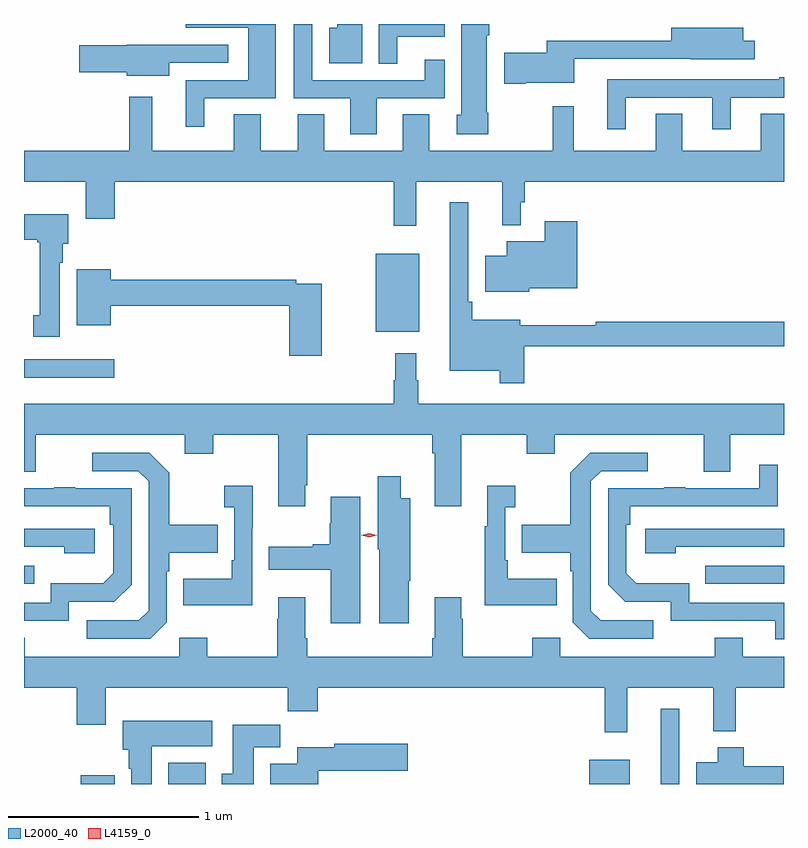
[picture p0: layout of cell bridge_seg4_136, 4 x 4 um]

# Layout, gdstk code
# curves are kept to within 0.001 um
import gdstk
lib = gdstk.Library(unit=1e-6, precision=1e-09)
def R(c, l, rs):  # rectangles x0, y0, x1, y1
    for r in rs: c.add(gdstk.rectangle(r[:2], r[2:], *l))
def P(c, l, *ps):  # polygons
    for p in ps: c.add(gdstk.Polygon(p, *l))
L2000_40 = (2000, 40)
L4159_0 = (4159, 0)

bridge_seg4_136 = lib.new_cell('bridge_seg4_136')
R(bridge_seg4_136, L2000_40, [(238.826,776.334,239.005,776.38), (239.288,776.334,239.485,776.446), (241.502,776.334,241.717,776.461), (241.88,776.334,241.977,776.731), (238.528,777.387,238.583,777.483), (242.113,777.387,242.528,777.483), (238.528,778.472,239.002,778.569), (240.38,778.715,240.607,779.125)])
P(bridge_seg4_136, L2000_40, [(240.307,780.334),(240.176,780.334),(240.176,780.313),(240.134,780.313),(240.134,780.128),(240.307,780.128)],
  [(239.476,779.943),(239.854,779.943),(239.854,780.334),(239.378,780.334),(239.378,780.314),(239.708,780.314),(239.708,780.039),(239.378,780.039),(239.378,779.793),(239.476,779.793)],
  [(240.385,779.943),(240.742,779.943),(240.742,780.145),(240.638,780.145),(240.638,780.039),(240.045,780.039),(240.045,780.334),(239.949,780.334),(239.949,779.943),(240.245,779.943),(240.245,779.754),(240.385,779.754)],
  [(240.493,780.266),(240.742,780.266),(240.742,780.334),(240.396,780.334),(240.396,780.124),(240.493,780.124)],
  [(240.972,779.866),(240.964,779.866),(240.964,780.275),(240.977,780.275),(240.977,780.334),(240.83,780.334),(240.83,779.856),(240.806,779.856),(240.806,779.754),(240.972,779.754)],
  [(241.168,780.026),(241.423,780.026),(241.423,780.15),(242.038,780.15),(242.038,780.149),(242.374,780.149),(242.374,780.247),(242.314,780.247),(242.314,780.313),(241.934,780.313),(241.934,780.247),(241.28,780.247),(241.28,780.184),(241.056,780.184),(241.056,780.019),(241.168,780.019)],
  [(239.293,780.129),(239.602,780.129),(239.602,780.225),(239.289,780.225),(239.289,780.226),(239.07,780.226),(239.07,780.221),(238.818,780.221),(238.818,780.079),(239.07,780.079),(239.07,780.062),(239.293,780.062)],
  [(241.696,779.946),(242.15,779.946),(242.15,779.781),(242.248,779.781),(242.248,779.946),(242.528,779.946),(242.528,780.055),(242.504,780.055),(242.504,780.042),(241.598,780.042),(241.598,779.781),(241.696,779.781)],
  [(240.593,779.504),(241.046,779.504),(241.046,779.276),(241.143,779.276),(241.143,779.397),(241.163,779.397),(241.163,779.504),(242.528,779.504),(242.528,779.861),(242.405,779.861),(242.405,779.668),(241.993,779.668),(241.993,779.861),(241.853,779.861),(241.853,779.668),(241.421,779.668),(241.421,779.902),(241.311,779.902),(241.311,779.668),(240.661,779.668),(240.661,779.858),(240.521,779.858),(240.521,779.668),(240.109,779.668),(240.109,779.858),(239.969,779.858),(239.969,779.668),(239.773,779.668),(239.773,779.858),(239.633,779.858),(239.633,779.668),(239.203,779.668),(239.203,779.95),(239.082,779.95),(239.082,779.668),(238.528,779.668),(238.528,779.504),(238.853,779.504),(238.853,779.31),(239.006,779.31),(239.006,779.504),(240.475,779.504),(240.475,779.271),(240.593,779.271)],
  [(241.16,778.638),(242.528,778.638),(242.528,778.766),(241.537,778.766),(241.537,778.748),(241.141,778.748),(241.141,778.777),(240.887,778.777),(240.887,778.873),(240.867,778.873),(240.867,779.395),(240.77,779.395),(240.77,778.508),(241.032,778.508),(241.032,778.443),(241.16,778.443)],
  [(238.717,779.078),(238.732,779.078),(238.732,779.178),(238.762,779.178),(238.762,779.332),(238.528,779.332),(238.528,779.198),(238.597,779.198),(238.597,779.185),(238.61,779.185),(238.61,778.802),(238.577,778.802),(238.577,778.689),(238.717,778.689)],
  [(241.188,778.943),(241.439,778.943),(241.439,779.296),(241.268,779.296),(241.268,779.191),(241.07,779.191),(241.07,779.113),(240.956,779.113),(240.956,778.925),(241.188,778.925)],
  [(240.094,778.968),(239.96,778.968),(239.96,778.988),(238.984,778.988),(238.984,779.044),(238.805,779.044),(238.805,778.748),(238.984,778.748),(238.984,778.852),(239.924,778.852),(239.924,778.587),(240.094,778.587)],
  [(240.007,777.907),(240.02,777.907),(240.02,778.172),(240.677,778.172),(240.677,778.076),(240.689,778.076),(240.689,777.795),(240.829,777.795),(240.829,778.172),(241.174,778.172),(241.174,778.073),(241.321,778.073),(241.321,778.172),(242.105,778.172),(242.105,777.978),(242.245,777.978),(242.245,778.172),(242.528,778.172),(242.528,778.336),(240.604,778.336),(240.604,778.46),(240.592,778.46),(240.592,778.6),(240.483,778.6),(240.483,778.46),(240.475,778.46),(240.475,778.336),(238.528,778.336),(238.528,777.978),(238.591,777.978),(238.591,778.172),(239.375,778.172),(239.375,778.073),(239.523,778.073),(239.523,778.172),(239.867,778.172),(239.867,777.795),(240.007,777.795)],
  [(239.28,777.186),(239.28,777.455),(239.293,777.455),(239.293,777.551),(239.549,777.551),(239.549,777.699),(239.293,777.699),(239.293,777.971),(239.187,778.077),(238.887,778.077),(238.887,777.981),(239.13,777.981),(239.184,777.927),(239.184,777.246),(239.133,777.195),(238.857,777.195),(238.857,777.099),(239.193,777.099)],
  [(241.84,777.195),(241.563,777.195),(241.512,777.246),(241.512,777.927),(241.566,777.981),(241.81,777.981),(241.81,778.077),(241.509,778.077),(241.404,777.971),(241.404,777.699),(241.147,777.699),(241.147,777.551),(241.404,777.551),(241.404,777.455),(241.416,777.455),(241.416,777.186),(241.503,777.099),(241.84,777.099)],
  [(242.528,777.288),(242.028,777.288),(242.028,777.391),(241.751,777.391),(241.698,777.444),(241.698,777.698),(241.718,777.698),(241.718,777.795),(242.495,777.796),(242.495,778.015),(242.399,778.015),(242.399,777.891),(242.009,777.891),(242.009,777.896),(241.897,777.896),(241.897,777.891),(241.602,777.891),(241.602,777.384),(241.692,777.294),(241.932,777.294),(241.932,777.192),(242.483,777.192),(242.483,777.096),(242.528,777.096)],
  [(240.553,777.403),(240.561,777.403),(240.561,777.838),(240.511,777.838),(240.511,777.955),(240.389,777.955),(240.389,777.57),(240.398,777.57),(240.398,777.18),(240.553,777.18)],
  [(239.73,777.679),(239.731,777.679),(239.731,777.904),(239.583,777.904),(239.583,777.791),(239.634,777.791),(239.634,777.511),(239.622,777.511),(239.622,777.415),(239.365,777.415),(239.365,777.275),(239.73,777.275)],
  [(241.331,777.415),(241.075,777.415),(241.075,777.511),(241.062,777.511),(241.062,777.791),(241.114,777.791),(241.114,777.904),(240.965,777.904),(240.965,777.691),(240.954,777.691),(240.954,777.275),(241.331,777.275)],
  [(238.764,777.294),(239.004,777.294),(239.094,777.384),(239.094,777.891),(238.799,777.891),(238.799,777.896),(238.687,777.896),(238.687,777.891),(238.528,777.891),(238.528,777.795),(238.978,777.795),(238.978,777.698),(238.998,777.698),(238.998,777.444),(238.945,777.391),(238.668,777.391),(238.668,777.288),(238.528,777.288),(238.528,777.192),(238.764,777.192)],
  [(240.298,777.847),(240.143,777.847),(240.143,777.707),(240.136,777.707),(240.136,777.596),(240.047,777.596),(240.047,777.583),(239.815,777.583),(239.815,777.461),(240.143,777.461),(240.143,777.18),(240.298,777.18)],
  [(238.9,777.678),(238.528,777.678),(238.528,777.582),(238.739,777.582),(238.739,777.548),(238.9,777.548)],
  [(241.958,777.582),(242.528,777.582),(242.528,777.678),(241.797,777.678),(241.797,777.548),(241.958,777.548)],
  [(241.703,776.84),(242.156,776.84),(242.156,776.612),(242.273,776.612),(242.273,776.84),(242.528,776.84),(242.528,777.004),(242.311,777.004),(242.311,777.103),(242.164,777.103),(242.164,777.004),(241.35,777.004),(241.35,777.103),(241.204,777.103),(241.204,777.004),(240.837,777.004),(240.837,777.203),(240.829,777.203),(240.829,777.316),(240.689,777.316),(240.689,777.1),(240.677,777.1),(240.677,777.004),(240.02,777.004),(240.02,777.1),(240.007,777.1),(240.007,777.316),(239.867,777.316),(239.867,777.203),(239.86,777.203),(239.86,777.004),(239.493,777.004),(239.493,777.103),(239.346,777.103),(239.346,777.004),(238.533,777.004),(238.533,777.103),(238.528,777.103),(238.528,776.84),(238.805,776.84),(238.805,776.646),(238.957,776.646),(238.957,776.84),(239.917,776.84),(239.917,776.716),(240.074,776.716),(240.074,776.84),(241.585,776.84),(241.585,776.607),(241.703,776.607)],
  [(239.2,776.534),(239.518,776.534),(239.518,776.668),(239.048,776.668),(239.048,776.514),(239.078,776.514),(239.078,776.414),(239.093,776.414),(239.093,776.334),(239.2,776.334)],
  [(239.737,776.528),(239.876,776.528),(239.876,776.647),(239.627,776.647),(239.627,776.388),(239.57,776.388),(239.57,776.334),(239.737,776.334)],
  [(240.076,776.405),(240.547,776.405),(240.547,776.547),(240.162,776.547),(240.162,776.527),(239.966,776.527),(239.966,776.44),(239.825,776.44),(239.825,776.334),(240.076,776.334)],
  [(242.527,776.427),(242.315,776.427),(242.315,776.527),(242.18,776.527),(242.18,776.449),(242.066,776.449),(242.066,776.334),(242.527,776.334)])
P(bridge_seg4_136, L4159_0, [(240.344,777.634),(240.303,777.643),(240.303,777.643),(240.303,777.644),(240.344,777.654),(240.385,777.644),(240.385,777.644),(240.385,777.644)])

lib.write_gds('bridge_seg4_136.gds')
